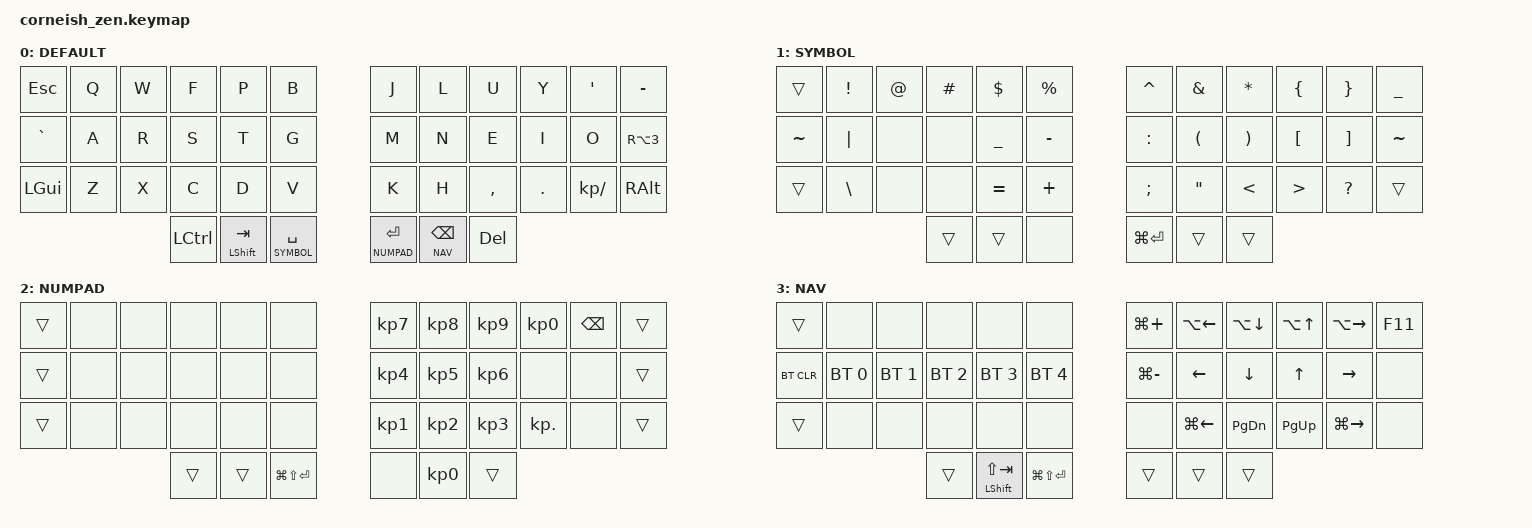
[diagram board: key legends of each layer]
#include <behaviors.dtsi>
#include <dt-bindings/zmk/keys.h>
#include <dt-bindings/zmk/bt.h>

#define DEFAULT 0
#define SYMBOL 1
#define NUMPAD 2
#define NAV 3

/ {
  chosen {
    zmk,matrix_transform = &default_transform;
    //zmk,matrix_transform = &five_column_transform;
  };
};

/ {
        keymap {
                compatible = "zmk,keymap";

                default_layer {
                        label = "DEFAULT";
                        bindings = <
   &kp ESC   &kp Q &kp W &kp F &kp P &kp B             &kp J &kp L &kp U     &kp Y   &kp SQT      &kp MINUS
   &kp GRAVE &kp A &kp R &kp S &kp T &kp G             &kp M &kp N &kp E     &kp I   &kp O        &kp RA(N3)
   &kp LGUI  &kp Z &kp X &kp C &kp D &kp V             &kp K &kp H &kp COMMA &kp DOT &kp KP_SLASH &kp RALT
         &kp  LCTL &mt LSHFT TAB  &lt SYMBOL SPC      &lt NUMPAD RET  &lt NAV BSPC &kp DEL
                        >;
                };

                symbol_layer {
                        label = "SYMBOL";
                        bindings = <
   &trans     &kp EXCL   &kp AT &kp HASH &kp DLLR &kp PRCNT          &kp CARET &kp AMPS &kp STAR &kp LBRC &kp RBRC  &kp UNDER
   &kp TILDE  &kp PIPE   &none  &none    &kp UNDER &kp MINUS         &kp COLON &kp LPAR &kp RPAR &kp LBKT &kp RBKT  &kp TILDE
   &trans     &kp BSLH   &none  &none    &kp EQUAL &kp PLUS          &kp SEMI  &kp DQT  &kp LT   &kp GT   &kp QMARK &trans
                                          &trans &trans &none     &kp LG(RET) &trans &trans
                        >;
                };

                numpad_layer {
                        label = "NUMPAD";
                        bindings = < 
   &trans &none &none &none &none &none                &kp KP_N7 &kp KP_N8 &kp KP_N9 &kp KP_N0  &kp BSPC &trans
   &trans &none &none &none &none &none                &kp KP_N4 &kp KP_N5 &kp KP_N6 &none      &none    &trans
   &trans &none &none &none &none &none                &kp KP_N1 &kp KP_N2 &kp KP_N3 &kp KP_DOT &none    &trans
                         &trans &trans &kp LG(LS(RET))   &none &kp KP_N0 &trans
                        >;
                };

                nav_layer {
                        label = "NAV";
                        bindings = <
   &trans &none &none &none &none &none                                                    &kp LG(PLUS)  &kp LA(LEFT) &kp LA(DOWN) &kp LA(UP) &kp LA(RIGHT) &kp F11
   &bt BT_CLR &bt BT_SEL 0 &bt BT_SEL 1 &bt BT_SEL 2 &bt BT_SEL 3 &bt BT_SEL 4                      &kp LG(MINUS) &kp LEFT     &kp DOWN     &kp UP     &kp RIGHT     &none
   &trans &none &none &none &none &none                                                     &none         &kp LG(LEFT) &kp PG_DN    &kp PG_UP  &kp LG(RIGHT) &none 
                              &trans &mt LSHFT LS(TAB) &kp LG(LS(RET))            &trans &trans &trans
                        >;
                };
        };
};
